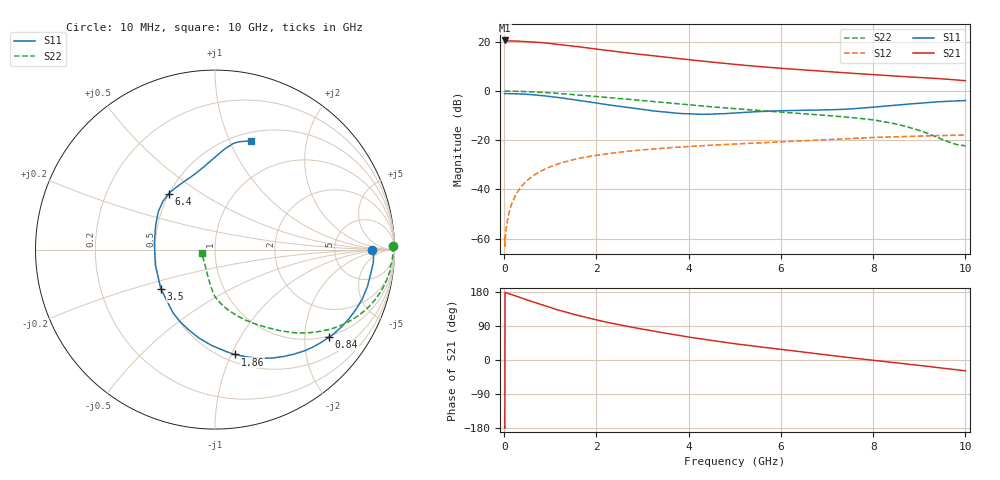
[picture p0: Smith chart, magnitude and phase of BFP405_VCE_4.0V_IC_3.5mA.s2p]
! Infineon Technologies  Discrete & RF Semiconductors
! BFP405
! VCE =  4.0 V,  IC =  3.5 mA
! Common Emitter S-Parameters:  Jan 2016
# GHz  S  MA  R  50
!  f  S11  S21  S12  S22
! GHz  MAG  ANG  MAG  ANG  MAG  ANG  MAG  ANG
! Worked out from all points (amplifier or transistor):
!   233 points, 10 MHz to 10 GHz, reference 50 ohm
!   highest |S21| = 20.5 dB at 10 MHz (marker M1)
!   |S21| within 3 dB of that: start of sweep to 1.789 GHz
!   unconditionally stable (mu >= 1): 12.45 MHz to 16.62 MHz; 3.848 GHz to end of sweep
!   at 200 MHz: K = 0.15, MSG = 32.3 dB, |S12| = -44.3 dB
!   at 1.74 GHz: K = 0.44, MSG = 22.3 dB, |S12| = -27.0 dB
!   at 10 GHz: K = 1.51, MAG = 6.8 dB, |S12| = -17.9 dB
!   S11 on the Smith chart (normalised r, x): 10 MHz: 15, -0; 840 MHz: 0.96, -2.63; 1.86 GHz: 0.57, -1.03; 3.5 GHz: 0.49, -0.25; 6.4 GHz: 0.50, +0.37; 10 GHz: 0.59, +1.20
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0.01  0.8736 -0.1  10.62 -177.8  0.0011 -32.7  0.9928 1.0
0.015  0.8796 -0.5  10.55 -179.8  0.0007 8.1  0.99 0.6
0.02  0.8856 -0.8  10.49 178.2  0.0009 61.1  0.9873 0.1
0.105  0.8846 -4.8  10.41 174.8  0.0033 78.4  0.9909 -2.1
0.24  0.8754 -10.9  10.35 169.3  0.0073 81.3  0.9818 -5.2
0.5  0.8543 -22.6  10.09 158.4  0.0151 77.2  0.9697 -10.5
0.84  0.8014 -37.6  9.542 144.5  0.0247 70.6  0.9351 -17.3
1.2  0.7308 -52.8  8.807 131.0  0.0337 63.9  0.8873 -23.8
1.4  0.6896 -61.0  8.368 124.1  0.0381 60.5  0.8583 -27.0
1.68  0.6308 -72.0  7.759 115.1  0.0436 56.1  0.8167 -31.2
1.86  0.5949 -79.1  7.375 109.7  0.0469 53.6  0.7906 -33.6
2.2  0.533 -92.3  6.718 100.4  0.0524 49.3  0.7428 -37.8
2.6  0.4719 -107.8  6.039 90.5  0.0582 44.8  0.6892 -42.3
3  0.4227 -123.6  5.467 81.3  0.0635 40.8  0.6384 -46.5
3.4  0.3786 -139.6  4.964 72.9  0.0681 37.1  0.5892 -50.3
3.5  0.3728 -144.1  4.857 70.6  0.0693 36.2  0.5773 -51.4
4.1  0.3391 -169.3  4.223 58.8  0.0753 31.4  0.513 -57.1
5.1  0.3606 155.4  3.4 41.5  0.0843 24.4  0.4291 -66.5
6.4  0.4035 129.8  2.719 22.2  0.0962 17.1  0.3503 -76.7
6.8  0.4086 121.6  2.556 16.3  0.1004 14.7  0.3279 -80.0
8.4  0.5059 91.2  2.027 -6.2  0.1165 3.3  0.2224 -94.5
10  0.6386 71.7  1.614 -28.6  0.1273 -7.7  0.0768 -163.7
